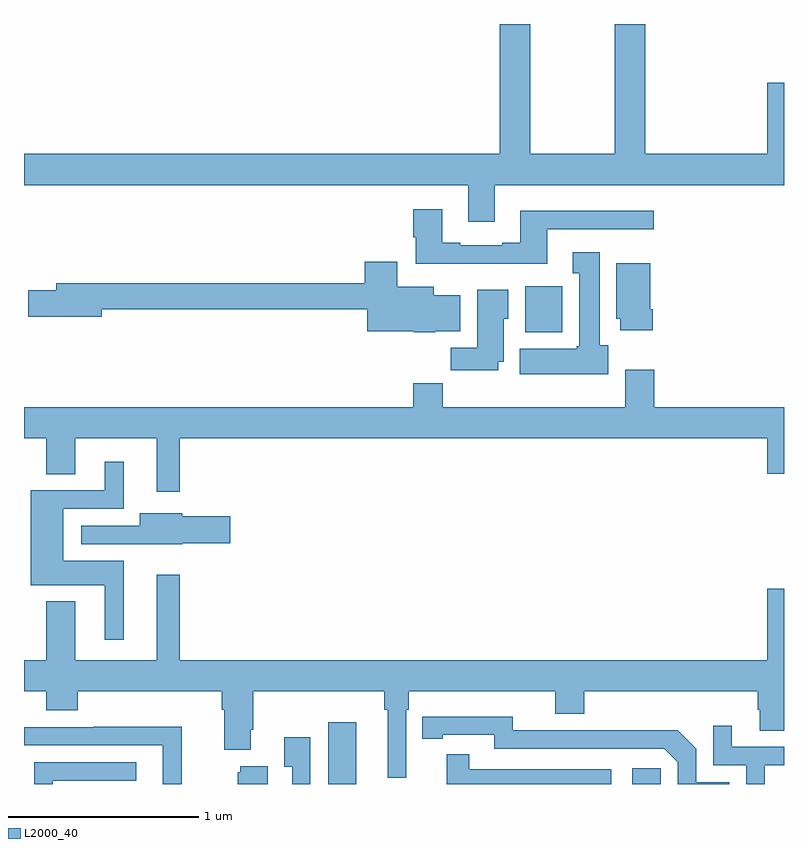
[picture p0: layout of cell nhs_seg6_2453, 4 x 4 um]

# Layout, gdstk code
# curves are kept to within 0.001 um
import gdstk
lib = gdstk.Library(unit=1e-6, precision=1e-09)
def R(c, l, rs):  # rectangles x0, y0, x1, y1
    for r in rs: c.add(gdstk.rectangle(r[:2], r[2:], *l))
def P(c, l, *ps):  # polygons
    for p in ps: c.add(gdstk.Polygon(p, *l))
L2000_40 = (2000, 40)

nhs_seg6_2453 = lib.new_cell('nhs_seg6_2453')
R(nhs_seg6_2453, L2000_40, [(258.602,961.5,258.748,961.825), (260.202,961.5,260.352,961.582), (259.637,963.878,259.834,964.12)])
P(nhs_seg6_2453, L2000_40, [(259.477,964.652),(261,964.652),(261,965.191),(260.912,965.191),(260.912,964.816),(260.27,964.816),(260.27,965.5),(260.11,965.5),(260.11,964.816),(259.665,964.816),(259.665,965.5),(259.505,965.5),(259.505,964.816),(257,964.816),(257,964.652),(259.337,964.652),(259.337,964.458),(259.477,964.458)],
  [(259.753,964.419),(260.314,964.419),(260.314,964.516),(259.613,964.516),(259.613,964.348),(259.517,964.348),(259.517,964.335),(259.297,964.335),(259.297,964.348),(259.201,964.348),(259.201,964.525),(259.049,964.525),(259.049,964.377),(259.061,964.377),(259.061,964.238),(259.753,964.238)],
  [(260.074,963.81),(260.029,963.81),(260.029,964.3),(259.889,964.3),(259.889,964.187),(259.922,964.187),(259.922,963.804),(259.909,963.804),(259.909,963.79),(259.61,963.79),(259.61,963.656),(260.074,963.656)],
  [(259.164,963.884),(259.297,963.884),(259.297,964.072),(259.156,964.072),(259.156,964.117),(258.964,964.117),(258.964,964.249),(258.794,964.249),(258.794,964.136),(257.171,964.136),(257.171,964.1),(257.022,964.1),(257.022,963.958),(257.41,963.958),(257.41,964),(258.806,964),(258.806,963.884),(259.05,963.884),(259.05,963.878),(259.164,963.878)],
  [(260.309,964),(260.296,964),(260.296,964.24),(260.117,964.24),(260.117,963.948),(260.138,963.948),(260.138,963.888),(260.309,963.888)],
  [(259.495,963.722),(259.525,963.722),(259.525,963.948),(259.549,963.948),(259.549,964.102),(259.385,964.102),(259.385,963.796),(259.246,963.796),(259.246,963.678),(259.495,963.678)],
  [(257.821,963.32),(260.912,963.32),(260.912,963.132),(261,963.132),(261,963.484),(260.318,963.484),(260.318,963.679),(260.165,963.679),(260.165,963.484),(259.205,963.484),(259.205,963.608),(259.049,963.608),(259.049,963.484),(257,963.484),(257,963.32),(257.117,963.32),(257.117,963.13),(257.269,963.13),(257.269,963.32),(257.699,963.32),(257.699,963.039),(257.821,963.039)],
  [(257.524,962.674),(257.206,962.674),(257.206,962.949),(257.524,962.949),(257.524,963.196),(257.426,963.196),(257.426,963.045),(257.036,963.045),(257.036,962.546),(257.426,962.546),(257.426,962.259),(257.524,962.259)],
  [(257.832,962.768),(258.085,962.768),(258.085,962.91),(257.832,962.91),(257.832,962.926),(257.609,962.926),(257.609,962.859),(257.301,962.859),(257.301,962.763),(257.613,962.763),(257.613,962.762),(257.832,962.762)],
  [(257.821,962.602),(257.699,962.602),(257.699,962.152),(257.269,962.152),(257.269,962.461),(257.117,962.461),(257.117,962.152),(257,962.152),(257,961.988),(257.117,961.988),(257.117,961.889),(257.282,961.889),(257.282,961.988),(258.041,961.988),(258.041,961.892),(258.053,961.892),(258.053,961.679),(258.193,961.679),(258.193,961.786),(258.206,961.786),(258.206,961.988),(258.895,961.988),(258.895,961.892),(258.914,961.892),(258.914,961.533),(259.011,961.533),(259.011,961.892),(259.025,961.892),(259.025,961.988),(259.796,961.988),(259.796,961.871),(259.949,961.871),(259.949,961.988),(260.861,961.988),(260.861,961.89),(260.873,961.89),(260.873,961.78),(261,961.78),(261,962.527),(260.912,962.527),(260.912,962.152),(257.821,962.152)],
  [(260.712,961.509),(260.538,961.509),(260.538,961.686),(260.44,961.784),(260.032,961.784),(260.032,961.782),(259.572,961.782),(259.572,961.855),(259.096,961.854),(259.096,961.738),(259.204,961.738),(259.204,961.758),(259.476,961.758),(259.476,961.686),(260.37,961.686),(260.442,961.614),(260.442,961.5),(260.712,961.5)],
  [(260.898,961.599),(261,961.599),(261,961.695),(260.725,961.695),(260.725,961.807),(260.628,961.807),(260.628,961.599),(260.802,961.599),(260.802,961.5),(260.898,961.5)],
  [(257.829,961.802),(257.365,961.802),(257.365,961.8),(257,961.8),(257,961.704),(257.73,961.704),(257.73,961.5),(257.829,961.5)],
  [(258.507,961.747),(258.371,961.747),(258.371,961.591),(258.411,961.591),(258.411,961.5),(258.507,961.5)],
  [(260.092,961.578),(259.343,961.578),(259.343,961.657),(259.226,961.657),(259.226,961.5),(260.092,961.5)],
  [(257.151,961.518),(257.59,961.518),(257.59,961.614),(257.055,961.614),(257.055,961.5),(257.151,961.5)],
  [(258.283,961.594),(258.137,961.594),(258.137,961.563),(258.125,961.563),(258.125,961.5),(258.283,961.5)])

lib.write_gds('nhs_seg6_2453.gds')
